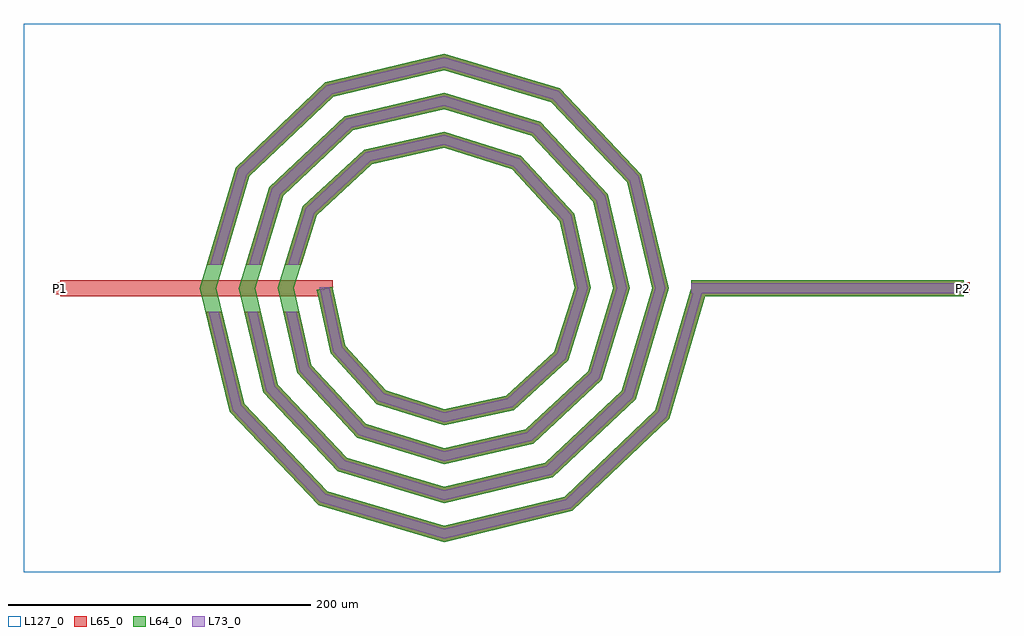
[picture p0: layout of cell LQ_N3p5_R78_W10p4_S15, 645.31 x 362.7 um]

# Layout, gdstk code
import gdstk
lib = gdstk.Library(unit=1e-6, precision=1e-09)
def R(c, l, rs):  # rectangles x0, y0, x1, y1
    for r in rs: c.add(gdstk.rectangle(r[:2], r[2:], *l))
def P(c, l, *ps):  # polygons
    for p in ps: c.add(gdstk.Polygon(p, *l))
L64_0 = (64, 0)
L65_0 = (65, 0)
L73_0 = (73, 0)
L127_0 = (127, 0)

lq_n3p5_r78_w10p4_s15 = lib.new_cell('LQ_N3p5_R78_W10p4_S15')
R(lq_n3p5_r78_w10p4_s15, L64_0, [(163.615,-5.2,343.615,5.2)])
P(lq_n3p5_r78_w10p4_s15, L64_0, [(-65.389,-38.059),(-38.676,-67.505),(0.252,-79.94),(41.253,-70.961),(73.058,-41.903),(86.362,0.234),(76.531,44.45),(45.128,78.611),(0.219,92.784),(-47.648,82.1),(-84.166,48.351),(-99.207,0.206),(-87.669,-50.848),(-51.573,-89.722),(0.194,-105.629),(54.049,-93.236),(95.279,-54.794),(112.052,0.183),(98.804,57.252),(58.014,100.836),(0.174,118.474),(-60.455,104.37),(-106.394,61.233),(-124.897,0.165),(-109.937,-63.659),(-64.451,-111.952),(0.157,-131.32),(66.864,-115.503),(117.51,-67.669),(137.742,0.15),(121.068,70.07),(70.886,123.069),(0.144,144.165),(-73.276,126.634),(-128.629,74.102),(-150.588,0.138),(-132.199,-76.482),(-77.319,-134.188),(0.132,-157.01),(79.689,-137.764),(139.748,-80.534),(163.826,1.465),(173.805,-1.465),(148.941,-86.14),(84.845,-147.216),(0.132,-167.775),(-82.933,-143.376),(-141.657,-81.629),(-161.352,0.138),(-137.81,79.726),(-78.412,136.097),(0.144,154.928),(76.52,132.245),(130.538,75.195),(148.506,0.15),(126.679,-73.314),(71.978,-124.979),(0.157,-142.082),(-70.109,-121.113),(-119.42,-68.76),(-135.659,0.165),(-115.546,66.905),(-65.541,113.861),(0.174,129.236),(63.701,109.979),(108.303,62.321),(122.813,0.183),(104.412,-60.498),(59.101,-102.746),(0.194,-116.39),(-57.295,-98.844),(-97.189,-55.879),(-109.967,0.206),(-93.275,54.094),(-52.657,91.633),(0.219,103.543),(50.895,87.705),(86.077,49.432),(97.12,0.234),(82.134,-47.697),(46.206,-80.523),(0.252,-90.696),(-44.501,-76.562),(-74.969,-42.977),(-83.979,-1.094),(-73.811,1.094)])
R(lq_n3p5_r78_w10p4_s15, L65_0, [(-253.695,-5.2,-73.695,5.2), (163.615,-5.2,343.615,5.2), (-257.695,-4,-249.695,4), (339.615,-4,347.615,4)])
P(lq_n3p5_r78_w10p4_s15, L65_0, [(-132.199,-76.482),(-77.319,-134.188),(0.132,-157.01),(79.689,-137.764),(139.748,-80.534),(163.826,1.465),(173.805,-1.465),(148.941,-86.14),(84.845,-147.217),(0.132,-167.775),(-82.933,-143.376),(-141.657,-81.629),(-157.561,-15.6),(-146.863,-15.6)],
  [(-109.937,-63.66),(-64.451,-111.952),(0.157,-131.32),(66.864,-115.503),(117.51,-67.669),(137.742,0.15),(121.068,70.07),(70.886,123.069),(0.144,144.165),(-73.276,126.634),(-128.629,74.102),(-145.933,15.6),(-156.778,15.6),(-137.811,79.726),(-78.412,136.097),(0.144,154.929),(76.52,132.245),(130.538,75.195),(148.506,0.15),(126.679,-73.314),(71.978,-124.979),(0.157,-142.082),(-70.109,-121.113),(-119.42,-68.76),(-131.945,-15.6),(-121.26,-15.6)],
  [(-87.669,-50.848),(-51.573,-89.722),(0.194,-105.629),(54.05,-93.237),(95.279,-54.794),(112.052,0.183),(98.804,57.252),(58.014,100.836),(0.174,118.474),(-60.455,104.37),(-106.394,61.233),(-120.146,15.6),(-131.008,15.6),(-115.546,66.905),(-65.541,113.861),(0.174,129.236),(63.701,109.979),(108.303,62.321),(122.813,0.183),(104.412,-60.498),(59.101,-102.746),(0.194,-116.39),(-57.295,-98.844),(-97.189,-55.88),(-106.366,-15.6),(-95.699,-15.6)],
  [(-38.676,-67.505),(0.252,-79.94),(41.253,-70.961),(73.058,-41.903),(86.362,0.234),(76.531,44.45),(45.128,78.611),(0.219,92.784),(-47.648,82.1),(-84.166,48.351),(-94.311,15.6),(-105.198,15.6),(-93.275,54.095),(-52.657,91.633),(0.219,103.543),(50.895,87.705),(86.077,49.432),(97.12,0.234),(82.134,-47.697),(46.206,-80.523),(0.252,-90.696),(-44.501,-76.562),(-74.969,-42.977),(-83.979,-1.094),(-73.811,1.094),(-65.389,-38.059)])
R(lq_n3p5_r78_w10p4_s15, L73_0, [(163.615,-3.2,343.615,3.2)])
P(lq_n3p5_r78_w10p4_s15, L73_0, [(-134.018,-77.472),(-78.398,-135.955),(0.082,-159.08),(80.68,-139.582),(141.516,-81.612),(165.745,0.902),(171.886,0.902),(147.173,-85.062),(83.853,-145.399),(0.082,-165.705),(-81.853,-141.609),(-139.838,-80.639),(-155.504,-15.6),(-148.921,-15.6)],
  [(-111.76,-64.64),(-65.539,-113.714),(0.097,-133.389),(67.848,-117.325),(119.274,-68.754),(139.812,0.092),(122.889,71.055),(71.969,124.834),(0.089,146.235),(-74.263,128.454),(-130.394,75.184),(-148.018,15.6),(-154.692,15.6),(-136.045,78.645),(-77.424,134.277),(0.089,152.859),(75.437,130.48),(128.717,74.209),(146.436,0.092),(124.916,-72.229),(70.994,-123.156),(0.097,-140.013),(-69.021,-119.351),(-117.596,-67.779),(-129.89,-15.6),(-123.315,-15.6)],
  [(-89.5,-51.816),(-52.674,-91.476),(0.119,-107.698),(55.021,-95.065),(97.035,-55.891),(114.121,0.113),(100.631,58.227),(59.107,102.594),(0.107,120.544),(-61.433,106.196),(-108.154,62.323),(-122.235,15.6),(-128.919,15.6),(-113.786,65.814),(-64.563,112.036),(0.107,127.167),(62.607,108.221),(106.477,61.347),(120.744,0.113),(102.656,-59.401),(58.13,-100.917),(0.119,-114.321),(-56.195,-97.09),(-95.358,-54.912),(-104.315,-15.6),(-97.751,-15.6)],
  [(-39.796,-69.247),(0.155,-82.008),(42.206,-72.8),(74.803,-43.017),(88.431,0.144),(78.367,45.408),(46.237,80.36),(0.135,94.853),(-48.611,83.933),(-85.918,49.456),(-96.405,15.6),(-103.105,15.6),(-91.523,52.99),(-51.694,89.8),(0.135,101.474),(49.786,85.956),(84.241,48.474),(95.051,0.144),(80.389,-46.583),(45.254,-78.684),(0.155,-88.628),(-43.381,-74.82),(-73.127,-42.031),(-82.024,0.673),(-75.767,0.673),(-67.232,-39.005)])
R(lq_n3p5_r78_w10p4_s15, L127_0, [(-277.695,-187.775,367.615,174.929)])
lq_n3p5_r78_w10p4_s15.add(gdstk.Label('P2', (343.615,0), layer=65, texttype=0))
lq_n3p5_r78_w10p4_s15.add(gdstk.Label('P1', (-253.695,0), layer=65, texttype=0))
lq_n3p5_r78_w10p4_s15.add(gdstk.Label('P2', (347.615,0), layer=145, texttype=0))
lq_n3p5_r78_w10p4_s15.add(gdstk.Label('P1', (-257.695,0), layer=145, texttype=0))

lib.write_gds('LQ_N3p5_R78_W10p4_S15.gds')
